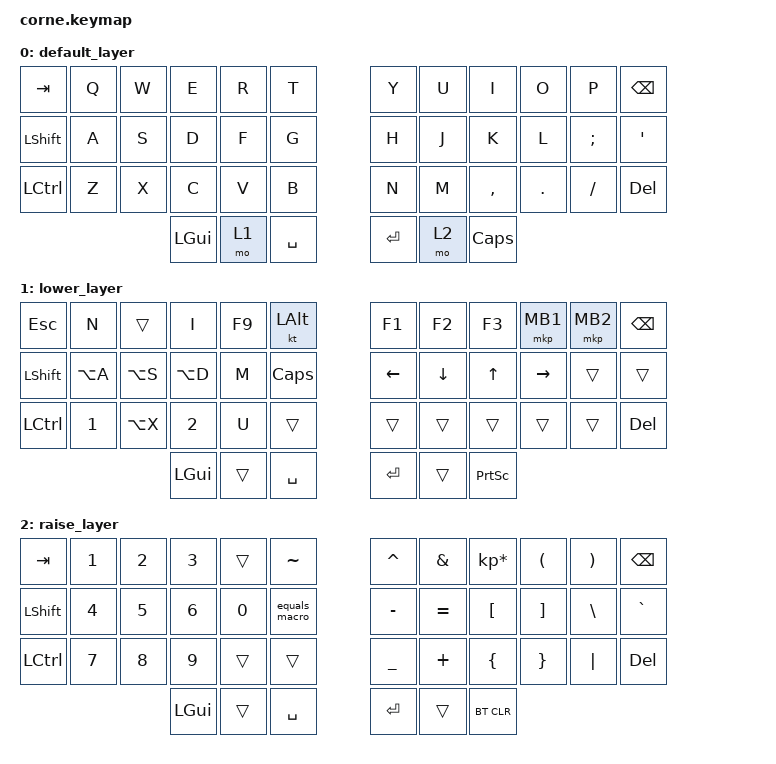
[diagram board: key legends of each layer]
/*
 * Copyright (c) 2020 The ZMK Contributors
 *
 * SPDX-License-Identifier: MIT
 */

#include <behaviors.dtsi>
#include <dt-bindings/zmk/keys.h>
#include <dt-bindings/zmk/mouse.h>
#include <dt-bindings/zmk/bt.h>
#include "macros.dtsi"


/ {
        keymap {
                compatible = "zmk,keymap";

                default_layer {
// -----------------------------------------------------------------------------------------
// |  TAB |  Q  |  W  |  E  |  R  |  T  |   |  Y  |  U   |  I  |  O  |  P  | BKSP |
// | SHFT |  A  |  S  |  D  |  F  |  G  |   |  H  |  J   |  K  |  L  |  ;  |  '   |
// | CTRL |  Z  |  X  |  C  |  V  |  B  |   |  N  |  M   |  ,  |  .  |  /  | DEL  |
//                    | GUI | LWR | SPC |   | ENT | RSE  | CAPS |
                        bindings = <
   &kp TAB     &kp Q   &kp W   &kp E   &kp R   &kp T       &kp Y   &kp U    &kp I       &kp O     &kp P      &kp BSPC
   &kp LSHFT   &kp A   &kp S   &kp D   &kp F   &kp G       &kp H   &kp J    &kp K       &kp L     &kp SEMI   &kp SQT
   &kp LCTRL   &kp Z   &kp X   &kp C   &kp V   &kp B       &kp N   &kp M    &kp COMMA   &kp DOT   &kp FSLH   &kp DEL
                  &kp LGUI &mo 1 &kp SPACE   &kp RET &mo 2 &kp CAPS
                        >;
                };
                lower_layer {
// -----------------------------------------------------------------------------------------
// |  ESC |   N    |   n  | I  | f9 | lalt|        | f1   | f2   | f3   | mouseL   | mouseR   | BSCP  |
// | SHFT |  LA(A)  | LA(S) | LA(D)|  M  | CAPS|   | LFT | DWN |  UP | RGT | n   | n    |
// | CTRL |  1  | LA(X)|  2  |  U  |  n  |         | n   | n   | n   | n | n | DEL |
//                    | GUI | n   | SPC |   | ENT | n   | prtsc |
                        bindings = <
   &kp ESC     &kp N  &trans   &kp I    &kp F9   &kt LALT         &kp F1     &kp F2   &kp F3   &mkp MB1   &mkp MB2   &kp BSPC
   &kp LSHFT   &kp LA(A)  &kp LA(S) &kp LA(D)    &kp M &kp CAPS        &kp LEFT   &kp DOWN   &kp UP   &kp RIGHT   &trans   &trans
   &kp LCTRL   &kp N1  &kp LA(X)  &kp N2    &kp U  &trans        &trans     &trans   &trans &trans  &trans   &kp DEL
                                 &kp LGUI  &trans   &kp SPACE      &kp RET  &trans   &kp PSCRN
                        >;
                };

                raise_layer {
// -----------------------------------------------------------------------------------------
// |  TAB |  1  |  2  |  3  |  n  |  ~  |      |  ^  |  &  |  *  |  (  |  )  | DEL  |
// | SHFT |  4  |  5  |  6  |  0  | eq_mcr |   |  -  |  =  |  [  |  ]  |  \  |  `   |
// | CTRL |  7  |  8  |  9  |  n  | n   |      |  +  |  {  |  }  | "|" | BKSP |
//                    | GUI |  n  | SPC |      | ENT |  n  | btClr |
                        bindings = <
   &kp  TAB   &kp N1  &kp N2  &kp N3  &trans   &kp TILDE      &kp CARET  &kp AMPS   &kp KP_MULTIPLY  &kp LPAR &kp RPAR &kp BSPC
   &kp LSHFT  &kp N4  &kp N5  &kp N6  &kp N0   &equals_macro      &kp MINUS  &kp EQUAL  &kp LBKT &kp RBKT &kp BSLH &kp GRAVE
   &kp LCTRL &kp N7  &kp N8  &kp N9  &trans   &trans      &kp UNDER  &kp PLUS   &kp LBRC  &kp RBRC &kp PIPE &kp DEL
                             &kp LGUI &trans   &kp SPACE   &kp RET   &trans    &bt BT_CLR
                        >;
                };
        };
};
